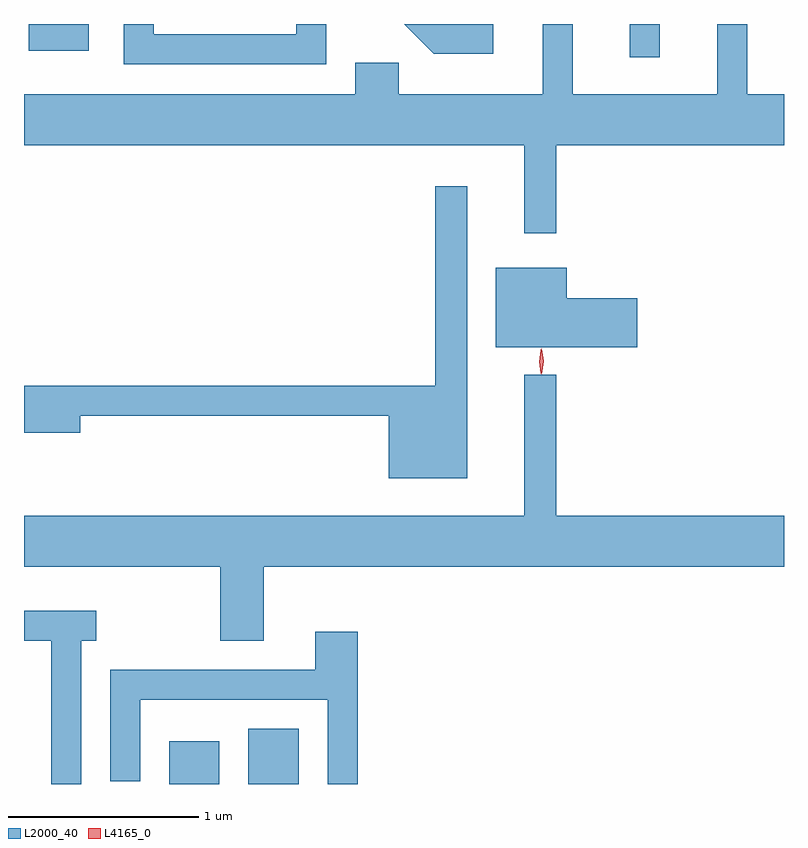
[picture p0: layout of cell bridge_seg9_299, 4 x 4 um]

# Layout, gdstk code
import gdstk
lib = gdstk.Library(unit=1e-6, precision=1e-09)
def R(c, l, rs):  # rectangles x0, y0, x1, y1
    for r in rs: c.add(gdstk.rectangle(r[:2], r[2:], *l))
def P(c, l, *ps):  # polygons
    for p in ps: c.add(gdstk.Polygon(p, *l))
L2000_40 = (2000, 40)
L4165_0 = (4165, 0)

bridge_seg9_299 = lib.new_cell('bridge_seg9_299')
R(bridge_seg9_299, L2000_40, [(970.791,2041.733,971.054,2041.959), (971.206,2041.733,971.474,2042.024), (973.216,2045.558,973.374,2045.733), (970.053,2045.591,970.369,2045.733)])
P(bridge_seg9_299, L2000_40, [(972.829,2045.096),(974.027,2045.096),(974.027,2045.364),(973.834,2045.364),(973.834,2045.733),(973.676,2045.733),(973.676,2045.364),(972.914,2045.364),(972.914,2045.733),(972.756,2045.733),(972.756,2045.364),(971.999,2045.364),(971.999,2045.529),(971.771,2045.529),(971.771,2045.364),(970.027,2045.364),(970.027,2045.096),(972.661,2045.096),(972.661,2044.633),(972.829,2044.633)],
  [(972.498,2045.733),(972.027,2045.733),(972.184,2045.576),(972.498,2045.576)],
  [(971.619,2045.733),(971.461,2045.733),(971.461,2045.679),(970.709,2045.679),(970.709,2045.733),(970.551,2045.733),(970.551,2045.521),(971.619,2045.521)],
  [(972.359,2044.878),(972.191,2044.878),(972.191,2043.829),(970.027,2043.829),(970.027,2043.581),(970.324,2043.581),(970.324,2043.671),(971.946,2043.671),(971.946,2043.341),(972.359,2043.341)],
  [(973.254,2044.289),(972.884,2044.289),(972.884,2044.449),(972.511,2044.449),(972.511,2044.031),(973.254,2044.031)],
  [(971.289,2042.876),(974.027,2042.876),(974.027,2043.144),(972.829,2043.144),(972.829,2043.888),(972.661,2043.888),(972.661,2043.144),(970.027,2043.144),(970.027,2042.876),(971.061,2042.876),(971.061,2042.486),(971.289,2042.486)],
  [(970.329,2042.486),(970.408,2042.486),(970.408,2042.644),(970.027,2042.644),(970.027,2042.486),(970.171,2042.486),(970.171,2041.733),(970.329,2041.733)],
  [(971.784,2042.534),(971.561,2042.534),(971.561,2042.334),(970.481,2042.334),(970.481,2041.748),(970.639,2041.748),(970.639,2042.176),(971.626,2042.176),(971.626,2041.733),(971.784,2041.733)])
P(bridge_seg9_299, L4165_0, [(972.751,2043.89),(972.751,2043.89),(972.742,2043.958),(972.752,2044.025),(972.753,2044.026),(972.753,2044.025),(972.762,2043.958),(972.752,2043.89)],
  [(972.748,2043.893),(972.748,2043.894),(972.738,2043.956),(972.748,2044.019),(972.748,2044.02),(972.749,2044.019),(972.758,2043.956),(972.749,2043.894)])

lib.write_gds('bridge_seg9_299.gds')
